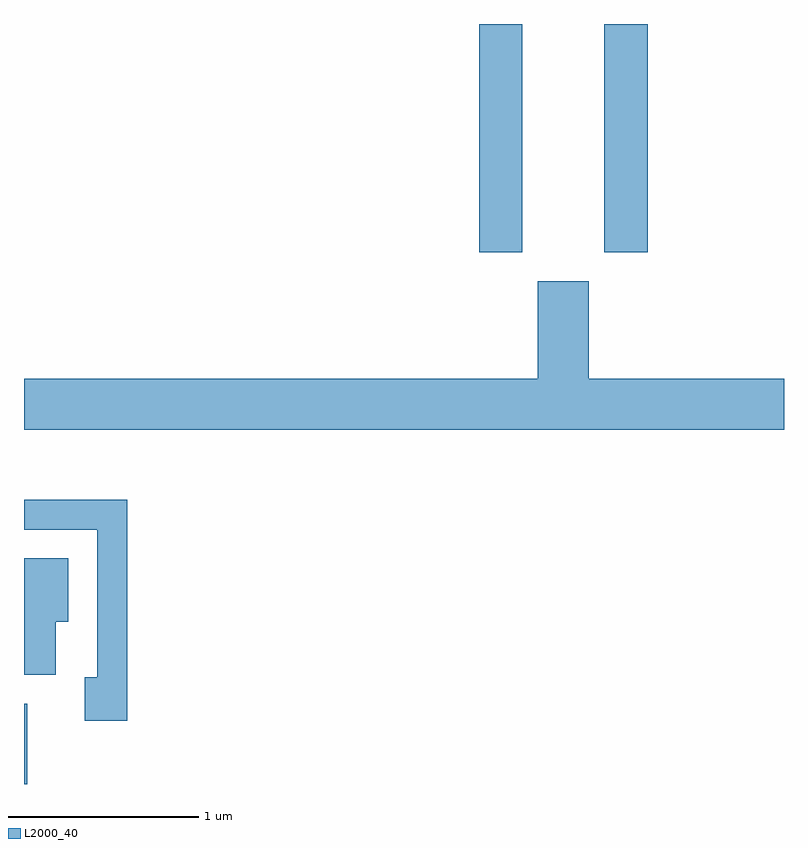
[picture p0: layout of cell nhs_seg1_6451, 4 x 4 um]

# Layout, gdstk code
import gdstk
lib = gdstk.Library(unit=1e-6, precision=1e-09)
def R(c, l, rs):  # rectangles x0, y0, x1, y1
    for r in rs: c.add(gdstk.rectangle(r[:2], r[2:], *l))
def P(c, l, *ps):  # polygons
    for p in ps: c.add(gdstk.Polygon(p, *l))
L2000_40 = (2000, 40)

nhs_seg1_6451 = lib.new_cell('nhs_seg1_6451')
R(nhs_seg1_6451, L2000_40, [(379.611,897.712,379.629,898.134), (382.006,900.511,382.234,901.712), (382.666,900.511,382.894,901.712)])
P(nhs_seg1_6451, L2000_40, [(383.611,899.844),(382.584,899.844),(382.584,900.359),(382.316,900.359),(382.316,899.844),(379.611,899.844),(379.611,899.576),(383.611,899.576)],
  [(380.154,899.209),(379.611,899.209),(379.611,899.051),(379.996,899.051),(379.996,898.274),(379.931,898.274),(379.931,898.046),(380.154,898.046)],
  [(379.779,898.566),(379.844,898.566),(379.844,898.899),(379.611,898.899),(379.611,898.286),(379.779,898.286)])

lib.write_gds('nhs_seg1_6451.gds')
